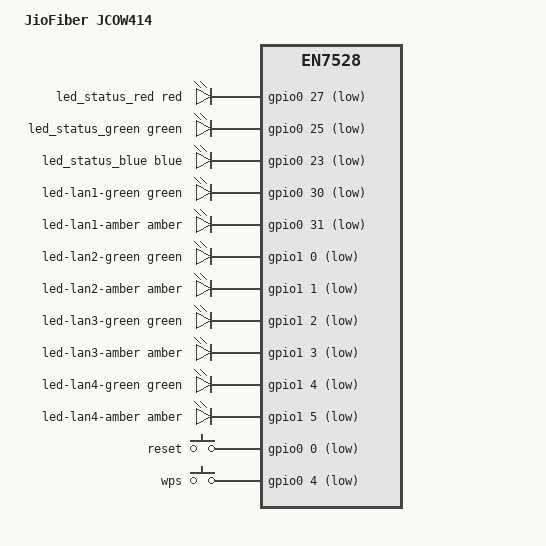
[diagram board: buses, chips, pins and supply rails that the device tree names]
// SPDX-License-Identifier: (GPL-2.0-only OR BSD-2-Clause)
/dts-v1/;

#include "en7528_jiofiber.dtsi"

/ {
	model = "JioFiber JCOW414";
	compatible = "jiofiber,jcow414", "econet,en7528";

	aliases {
		led-boot = &led_status_red;
		led-failsafe = &led_status_red;
		led-running = &led_status_green;
		led-upgrade = &led_status_blue;
	};

	leds {
		compatible = "gpio-leds";

		led_status_red: status-red {
			color = <LED_COLOR_ID_RED>;
			function = LED_FUNCTION_STATUS;
			gpios = <&gpio0 27 GPIO_ACTIVE_LOW>;
		};

		led_status_green: status-green {
			color = <LED_COLOR_ID_GREEN>;
			function = LED_FUNCTION_STATUS;
			gpios = <&gpio0 25 GPIO_ACTIVE_LOW>;
		};

		led_status_blue: status-blue {
			color = <LED_COLOR_ID_BLUE>;
			function = LED_FUNCTION_STATUS;
			gpios = <&gpio0 23 GPIO_ACTIVE_LOW>;
		};

		led-lan1-green {
			color = <LED_COLOR_ID_GREEN>;
			function = LED_FUNCTION_LAN;
			function-enumerator = <1>;
			gpios = <&gpio0 30 GPIO_ACTIVE_LOW>;
		};

		led-lan1-amber {
			color = <LED_COLOR_ID_AMBER>;
			function = LED_FUNCTION_LAN;
			function-enumerator = <1>;
			gpios = <&gpio0 31 GPIO_ACTIVE_LOW>;
		};

		led-lan2-green {
			color = <LED_COLOR_ID_GREEN>;
			function = LED_FUNCTION_LAN;
			function-enumerator = <2>;
			gpios = <&gpio1 0 GPIO_ACTIVE_LOW>;
		};

		led-lan2-amber {
			color = <LED_COLOR_ID_AMBER>;
			function = LED_FUNCTION_LAN;
			function-enumerator = <2>;
			gpios = <&gpio1 1 GPIO_ACTIVE_LOW>;
		};

		led-lan3-green {
			color = <LED_COLOR_ID_GREEN>;
			function = LED_FUNCTION_LAN;
			function-enumerator = <3>;
			gpios = <&gpio1 2 GPIO_ACTIVE_LOW>;
		};

		led-lan3-amber {
			color = <LED_COLOR_ID_AMBER>;
			function = LED_FUNCTION_LAN;
			function-enumerator = <3>;
			gpios = <&gpio1 3 GPIO_ACTIVE_LOW>;
		};

		led-lan4-green {
			color = <LED_COLOR_ID_GREEN>;
			function = LED_FUNCTION_LAN;
			function-enumerator = <4>;
			gpios = <&gpio1 4 GPIO_ACTIVE_LOW>;
		};

		led-lan4-amber {
			color = <LED_COLOR_ID_AMBER>;
			function = LED_FUNCTION_LAN;
			function-enumerator = <4>;
			gpios = <&gpio1 5 GPIO_ACTIVE_LOW>;
		};
	};

	keys {
		compatible = "gpio-keys-polled";
		poll-interval = <100>;

		key-reset {
			label = "reset";
			gpios = <&gpio0 0 GPIO_ACTIVE_LOW>;
			linux,code = <KEY_RESTART>;
		};

		key-wps {
			label = "wps";
			gpios = <&gpio0 4 GPIO_ACTIVE_LOW>;
			linux,code = <KEY_WPS_BUTTON>;
		};
	};
};
